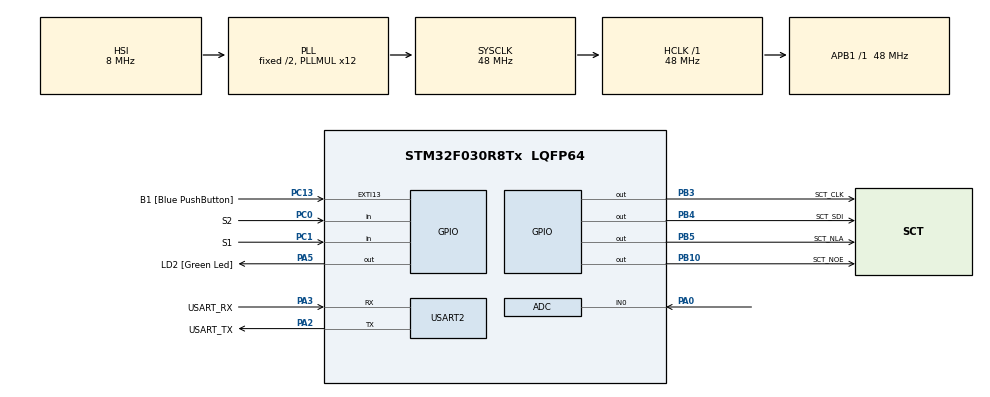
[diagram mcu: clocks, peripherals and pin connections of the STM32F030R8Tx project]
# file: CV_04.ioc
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ADC.ContinuousConvMode=ENABLE
ADC.Overrun=ADC_OVR_DATA_OVERWRITTEN
ADC.SamplingTime=ADC_SAMPLETIME_239CYCLES_5
Mcu.Family=STM32F0
Mcu.Name=STM32F030R8Tx
Mcu.Package=LQFP64
NVIC.ADC1_IRQn=true\:0\:0\:false\:false\:true\:true\:true
PA0.Mode=IN0
PA0.Signal=ADC_IN0
PA13.GPIO_Label=TMS
PA13.Mode=Serial_Wire
PA13.Signal=SYS_SWDIO
PA14.GPIO_Label=TCK
PA14.Mode=Serial_Wire
PA14.Signal=SYS_SWCLK
PA2.GPIO_Label=USART_TX
PA2.GPIO_Mode=GPIO_MODE_AF_PP
PA2.GPIO_PuPd=GPIO_NOPULL
PA2.GPIO_Speed=GPIO_SPEED_FREQ_LOW
PA2.Mode=Asynchronous
PA2.Signal=USART2_TX
PA3.GPIO_Label=USART_RX
PA3.GPIO_Mode=GPIO_MODE_AF_PP
PA3.GPIO_PuPd=GPIO_NOPULL
PA3.GPIO_Speed=GPIO_SPEED_FREQ_LOW
PA3.Mode=Asynchronous
PA3.Signal=USART2_RX
PA5.GPIO_Label=LD2 [Green Led]
PA5.GPIO_Mode=GPIO_MODE_OUTPUT_PP
PA5.GPIO_PuPd=GPIO_NOPULL
PA5.GPIO_Speed=GPIO_SPEED_FREQ_LOW
PA5.Signal=GPIO_Output
PB10.GPIO_Label=SCT_NOE
PB10.Signal=GPIO_Output
PB3.GPIO_Label=SCT_CLK
PB3.Signal=GPIO_Output
PB4.GPIO_Label=SCT_SDI
PB4.Signal=GPIO_Output
PB5.GPIO_Label=SCT_NLA
PB5.Signal=GPIO_Output
PC0.GPIO_Label=S2
PC0.GPIO_PuPd=GPIO_PULLUP
PC0.Signal=GPIO_Input
PC1.GPIO_Label=S1
PC1.GPIO_PuPd=GPIO_PULLUP
PC1.Signal=GPIO_Input
PC13.GPIO_Label=B1 [Blue PushButton]
PC13.GPIO_ModeDefaultEXTI=GPIO_MODE_IT_FALLING
PC13.Signal=GPXTI13
PC14-OSC32_IN.Mode=LSE-External-Oscillator
PC14-OSC32_IN.Signal=RCC_OSC32_IN
PC15-OSC32_OUT.Mode=LSE-External-Oscillator
PC15-OSC32_OUT.Signal=RCC_OSC32_OUT
PF0-OSC_IN.Mode=HSE-External-Clock-Source
PF0-OSC_IN.Signal=RCC_OSC_IN
PF1-OSC_OUT.Signal=RCC_OSC_OUT
ProjectManager.HeapSize=0x200
ProjectManager.StackSize=0x400
ProjectManager.TargetToolchain=STM32CubeIDE
RCC.AHBFreq_Value=48000000
RCC.APB1Freq_Value=48000000
RCC.APB1TimFreq_Value=48000000
RCC.HCLKFreq_Value=48000000
RCC.PLLMUL=RCC_PLL_MUL12
RCC.SYSCLKFreq_VALUE=48000000
RCC.SYSCLKSource=RCC_SYSCLKSOURCE_PLLCLK
USART2.VirtualMode-Asynchronous=VM_ASYNC
VP_ADC_TempSens_Input.Mode=IN-TempSens
VP_ADC_Vref_Input.Mode=IN-Vrefint
board=NUCLEO-F030R8

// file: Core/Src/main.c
/* USER CODE BEGIN Header */
/**
  ******************************************************************************
  * @file           : main.c
  * @brief          : Main program body
  ******************************************************************************
  * @attention
  *
  * <h2><center>&copy; Copyright (c) 2021 STMicroelectronics.
  * All rights reserved.</center></h2>
  *
  * This software component is licensed by ST under BSD 3-Clause license,
  * the "License"; You may not use this file except in compliance with the
  * License. You may obtain a copy of the License at:
  *                        opensource.org/licenses/BSD-3-Clause
  *
  ******************************************************************************
  */
/* USER CODE END Header */
#include "main.h"

/* USER CODE BEGIN Includes */
#include "sct.h"
/* USER CODE END Includes */

/* USER CODE BEGIN PD */
#define ADC_Q 14
/* Temperature sensor calibration value address */
#define TEMP110_CAL_ADDR ((uint16_t*) ((uint32_t) 0x1FFFF7C2))
#define TEMP30_CAL_ADDR ((uint16_t*) ((uint32_t) 0x1FFFF7B8))

/* Internal voltage reference calibration value address */
#define VREFINT_CAL_ADDR ((uint16_t*) ((uint32_t) 0x1FFFF7BA))
/* USER CODE END PD */

/* USER CODE BEGIN PM */

static volatile uint32_t raw_pot;

static volatile uint32_t raw_temp;
static volatile uint32_t raw_volt;

void HAL_ADC_ConvCpltCallback(ADC_HandleTypeDef* hadc)
{
	static uint32_t avg_pot;
	static uint32_t channel;

	if (channel==0){
		raw_pot = avg_pot >> ADC_Q;
		avg_pot -= raw_pot;
		avg_pot += HAL_ADC_GetValue(hadc);
	}

	if (channel==1){
		raw_temp = HAL_ADC_GetValue(hadc);
	}

	if (channel==2){
		raw_volt = HAL_ADC_GetValue(hadc);
	}
	if (__HAL_ADC_GET_FLAG(hadc, ADC_FLAG_EOS)) channel = 0;
	else channel++;
}

void switcher(uint32_t voltage, int32_t temperature, uint16_t pot, uint8_t led){

	static uint32_t time;
	static uint32_t new_time;
	static enum { SHOW_POT, SHOW_VOLT, SHOW_TEMP } state = SHOW_POT;

	if (HAL_GPIO_ReadPin(S1_GPIO_Port,S1_Pin)==0){
		state = SHOW_VOLT;
		time=HAL_GetTick();
	}

	if(HAL_GPIO_ReadPin(S2_GPIO_Port,S2_Pin)==0){
		state = SHOW_TEMP;
		time=HAL_GetTick();
	}

	if (state == SHOW_VOLT) {
		sct_value(voltage,8);
		new_time=HAL_GetTick();
		if (time+1000<new_time){
			state = SHOW_POT;
		}

	}
	else if (state == SHOW_TEMP) {
		sct_value(temperature,8);
		new_time=HAL_GetTick();
		if (time+1000<new_time){
			state = SHOW_POT;
		}
	}
	else if (state == SHOW_POT) {
		sct_value(pot,led);
	}
}

/* USER CODE END PM */

ADC_HandleTypeDef hadc;

UART_HandleTypeDef huart2;

void SystemClock_Config(void);
static void MX_GPIO_Init(void);
static void MX_USART2_UART_Init(void);
static void MX_ADC_Init(void);

int main(void)
{

  /* MCU Configuration--------------------------------------------------------*/

  /* Reset of all peripherals, Initializes the Flash interface and the Systick. */
  HAL_Init();

  /* Configure the system clock */
  SystemClock_Config();

  /* Initialize all configured peripherals */
  MX_GPIO_Init();
  MX_USART2_UART_Init();
  MX_ADC_Init();
  /* USER CODE BEGIN 2 */
  sct_init();
  HAL_ADCEx_Calibration_Start(&hadc);
  HAL_ADC_Start_IT(&hadc);
  /* USER CODE END 2 */

  /* Infinite loop */
  /* USER CODE BEGIN WHILE */
  while (1)
  {
	  	  uint16_t pot;
	 	  uint8_t led;
	 	  uint32_t voltage = 330 * (*VREFINT_CAL_ADDR) / raw_volt;

	 	  int32_t temperature = (raw_temp - (int32_t)(*TEMP30_CAL_ADDR));
	 	  temperature = temperature * (int32_t)(110 - 30);
	 	  temperature = temperature / (int32_t)(*TEMP110_CAL_ADDR - *TEMP30_CAL_ADDR);
	 	  temperature = temperature + 30;

	 	  pot=(raw_pot*(500+1)) / 4096;
	 	  led=(raw_pot*9) / 4096;

	 	  switcher(voltage,temperature,pot,led);

	 	  HAL_Delay(50);
    /* USER CODE END WHILE */

  }
}

void SystemClock_Config(void)
{
  RCC_OscInitTypeDef RCC_OscInitStruct = {0};
  RCC_ClkInitTypeDef RCC_ClkInitStruct = {0};

  /** Initializes the RCC Oscillators according to the specified parameters
  * in the RCC_OscInitTypeDef structure.
  */
  RCC_OscInitStruct.OscillatorType = RCC_OSCILLATORTYPE_HSI|RCC_OSCILLATORTYPE_HSI14;
  RCC_OscInitStruct.HSIState = RCC_HSI_ON;
  RCC_OscInitStruct.HSI14State = RCC_HSI14_ON;
  RCC_OscInitStruct.HSICalibrationValue = RCC_HSICALIBRATION_DEFAULT;
  RCC_OscInitStruct.HSI14CalibrationValue = 16;
  RCC_OscInitStruct.PLL.PLLState = RCC_PLL_ON;
  RCC_OscInitStruct.PLL.PLLSource = RCC_PLLSOURCE_HSI;
  RCC_OscInitStruct.PLL.PLLMUL = RCC_PLL_MUL12;
  RCC_OscInitStruct.PLL.PREDIV = RCC_PREDIV_DIV1;
  if (HAL_RCC_OscConfig(&RCC_OscInitStruct) != HAL_OK)
  {
    Error_Handler();
  }
  /** Initializes the CPU, AHB and APB buses clocks
  */
  RCC_ClkInitStruct.ClockType = RCC_CLOCKTYPE_HCLK|RCC_CLOCKTYPE_SYSCLK
                              |RCC_CLOCKTYPE_PCLK1;
  RCC_ClkInitStruct.SYSCLKSource = RCC_SYSCLKSOURCE_PLLCLK;
  RCC_ClkInitStruct.AHBCLKDivider = RCC_SYSCLK_DIV1;
  RCC_ClkInitStruct.APB1CLKDivider = RCC_HCLK_DIV1;

  if (HAL_RCC_ClockConfig(&RCC_ClkInitStruct, FLASH_LATENCY_1) != HAL_OK)
  {
    Error_Handler();
  }
}

static void MX_ADC_Init(void)
{

  ADC_ChannelConfTypeDef sConfig = {0};

  /** Configure the global features of the ADC (Clock, Resolution, Data Alignment and number of conversion)
  */
  hadc.Instance = ADC1;
  hadc.Init.ClockPrescaler = ADC_CLOCK_ASYNC_DIV1;
  hadc.Init.Resolution = ADC_RESOLUTION_12B;
  hadc.Init.DataAlign = ADC_DATAALIGN_RIGHT;
  hadc.Init.ScanConvMode = ADC_SCAN_DIRECTION_FORWARD;
  hadc.Init.EOCSelection = ADC_EOC_SINGLE_CONV;
  hadc.Init.LowPowerAutoWait = DISABLE;
  hadc.Init.LowPowerAutoPowerOff = DISABLE;
  hadc.Init.ContinuousConvMode = ENABLE;
  hadc.Init.DiscontinuousConvMode = DISABLE;
  hadc.Init.ExternalTrigConv = ADC_SOFTWARE_START;
  hadc.Init.ExternalTrigConvEdge = ADC_EXTERNALTRIGCONVEDGE_NONE;
  hadc.Init.DMAContinuousRequests = DISABLE;
  hadc.Init.Overrun = ADC_OVR_DATA_OVERWRITTEN;
  if (HAL_ADC_Init(&hadc) != HAL_OK)
  {
    Error_Handler();
  }
  /** Configure for the selected ADC regular channel to be converted.
  */
  sConfig.Channel = ADC_CHANNEL_0;
  sConfig.Rank = ADC_RANK_CHANNEL_NUMBER;
  sConfig.SamplingTime = ADC_SAMPLETIME_239CYCLES_5;
  if (HAL_ADC_ConfigChannel(&hadc, &sConfig) != HAL_OK)
  {
    Error_Handler();
  }
  /** Configure for the selected ADC regular channel to be converted.
  */
  sConfig.Channel = ADC_CHANNEL_TEMPSENSOR;
  if (HAL_ADC_ConfigChannel(&hadc, &sConfig) != HAL_OK)
  {
    Error_Handler();
  }
  /** Configure for the selected ADC regular channel to be converted.
  */
  sConfig.Channel = ADC_CHANNEL_VREFINT;
  if (HAL_ADC_ConfigChannel(&hadc, &sConfig) != HAL_OK)
  {
    Error_Handler();
  }

}

static void MX_USART2_UART_Init(void)
{

  huart2.Instance = USART2;
  huart2.Init.BaudRate = 38400;
  huart2.Init.WordLength = UART_WORDLENGTH_8B;
  huart2.Init.StopBits = UART_STOPBITS_1;
  huart2.Init.Parity = UART_PARITY_NONE;
  huart2.Init.Mode = UART_MODE_TX_RX;
  huart2.Init.HwFlowCtl = UART_HWCONTROL_NONE;
  huart2.Init.OverSampling = UART_OVERSAMPLING_16;
  huart2.Init.OneBitSampling = UART_ONE_BIT_SAMPLE_DISABLE;
  huart2.AdvancedInit.AdvFeatureInit = UART_ADVFEATURE_NO_INIT;
  if (HAL_UART_Init(&huart2) != HAL_OK)
  {
    Error_Handler();
  }

}

static void MX_GPIO_Init(void)
{
  GPIO_InitTypeDef GPIO_InitStruct = {0};

  /* GPIO Ports Clock Enable */
  __HAL_RCC_GPIOC_CLK_ENABLE();
  __HAL_RCC_GPIOF_CLK_ENABLE();
  __HAL_RCC_GPIOA_CLK_ENABLE();
  __HAL_RCC_GPIOB_CLK_ENABLE();

  /*Configure GPIO pin Output Level */
  HAL_GPIO_WritePin(LD2_GPIO_Port, LD2_Pin, GPIO_PIN_RESET);

  /*Configure GPIO pin Output Level */
  HAL_GPIO_WritePin(GPIOB, SCT_NOE_Pin|SCT_CLK_Pin|SCT_SDI_Pin|SCT_NLA_Pin, GPIO_PIN_RESET);

  /*Configure GPIO pin : B1_Pin */
  GPIO_InitStruct.Pin = B1_Pin;
  GPIO_InitStruct.Mode = GPIO_MODE_IT_FALLING;
  GPIO_InitStruct.Pull = GPIO_NOPULL;
  HAL_GPIO_Init(B1_GPIO_Port, &GPIO_InitStruct);

  /*Configure GPIO pins : S2_Pin S1_Pin */
  GPIO_InitStruct.Pin = S2_Pin|S1_Pin;
  GPIO_InitStruct.Mode = GPIO_MODE_INPUT;
  GPIO_InitStruct.Pull = GPIO_PULLUP;
  HAL_GPIO_Init(GPIOC, &GPIO_InitStruct);

  /*Configure GPIO pin : LD2_Pin */
  GPIO_InitStruct.Pin = LD2_Pin;
  GPIO_InitStruct.Mode = GPIO_MODE_OUTPUT_PP;
  GPIO_InitStruct.Pull = GPIO_NOPULL;
  GPIO_InitStruct.Speed = GPIO_SPEED_FREQ_LOW;
  HAL_GPIO_Init(LD2_GPIO_Port, &GPIO_InitStruct);

  /*Configure GPIO pins : SCT_NOE_Pin SCT_CLK_Pin SCT_SDI_Pin SCT_NLA_Pin */
  GPIO_InitStruct.Pin = SCT_NOE_Pin|SCT_CLK_Pin|SCT_SDI_Pin|SCT_NLA_Pin;
  GPIO_InitStruct.Mode = GPIO_MODE_OUTPUT_PP;
  GPIO_InitStruct.Pull = GPIO_NOPULL;
  GPIO_InitStruct.Speed = GPIO_SPEED_FREQ_LOW;
  HAL_GPIO_Init(GPIOB, &GPIO_InitStruct);

}

void Error_Handler(void)
{
  __disable_irq();
  while (1)
  {
  }
}

/************************ (C) COPYRIGHT STMicroelectronics *****END OF FILE****/
